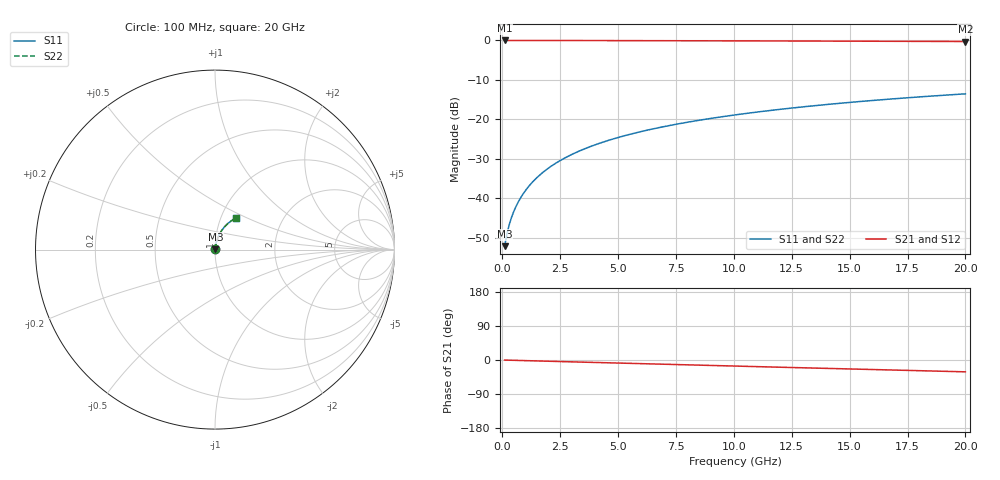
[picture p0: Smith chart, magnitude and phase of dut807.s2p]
! Touchstone file exported from HFSS 2026.1.0
!  File:  C:/ffzhzh/LocalFiles/Ansys_Project_Files/temp_train_TMRDL_807_1783156236_43440.aedt
!  Generated:  05:11:44 PM Jul  4, 2026
!  Design:  TMRDL
!  Project:  temp_train_TMRDL_807_1783156236_43440
! Variables:
!  h_bsmrdl = 2um
!  h_ox = 20um
!  h_rdl = 5um
!  h_sub = 80um
!  h_tmrdl = 3.82um
!  h_tsv = 80um
!  h_via = 3um
!  l_bsmrdl = 300um
!  l_sub = 889.7um
!  l_tmrdl = 489.7um
!  m_sub = 200um
!  pitch = 40.78um
!  r_tsv = 6um
!  s_tmrdl = 10um
!  w_bsmrdl = 18um
!  w_sub = 500um
!  w_tmrdl = 25.33um
!  x_tsv_center1 = 502.365um
!  x_tsv_center2 = 820.365um
!  x_tsv_center3 = 1335.395um
!  x_tsv_center4 = 1653.395um
!  x_tsv_center5 = 2168.425um
!  x_tsv_center6 = 2486.425um
# GHz S MA R 50.000000
! Terminal data exported
! Port[1] = TM_RDL1_1_T1
! Port[2] = TM_RDL1_1_T2
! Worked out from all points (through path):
!   200 points, 100 MHz to 20 GHz, reference 50 ohm
!   highest |S21| = -0.02 dB at 100 MHz (marker M1); lowest = -0.3 dB at 20 GHz (marker M2)
!   group delay of S21, straight-line fit = 4.33 ps
!   lowest |S11| = -52.1 dB at 100 MHz (marker M3), VSWR 1.01, Z = 50.2 + j0.144 ohm
!   |S11| at or under -10 dB: start of sweep to end of sweep
!   |S22| runs from -52.1 to -13.5 dB; largest |S21 - S12| = 2.6e-15
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0.1  0.002494 35.2  0.998 -0.2  0.998 -0.2  0.002494 35.2
! Gamma 0 0 0 0
! Port Impedance 50 0 50 0
0.2  0.003548 51.4  0.9978 -0.3  0.9978 -0.3  0.003548 51.4
0.3  0.00467 59.2  0.9976 -0.5  0.9976 -0.5  0.00467 59.2
0.4  0.005785 63.9  0.9975 -0.7  0.9975 -0.7  0.005785 63.9
0.5  0.006898 67.3  0.9974 -0.8  0.9974 -0.8  0.006898 67.3
0.6  0.008018 69.8  0.9973 -1.0  0.9973 -1.0  0.008018 69.8
0.8  0.01029 73.3  0.9972 -1.3  0.9972 -1.3  0.01029 73.3
1.1  0.01375 76.3  0.9971 -1.8  0.9971 -1.8  0.01375 76.3
1.3  0.01608 77.5  0.997 -2.1  0.997 -2.1  0.01608 77.5
1.6  0.01961 78.6  0.9968 -2.6  0.9968 -2.6  0.01961 78.6
2.1  0.02549 79.4  0.9965 -3.4  0.9965 -3.4  0.02549 79.4
2.7  0.03254 79.6  0.9961 -4.4  0.9961 -4.4  0.03254 79.6
3.5  0.04187 79.1  0.9954 -5.7  0.9954 -5.7  0.04187 79.1
4.2  0.04995 78.4  0.9946 -6.8  0.9946 -6.8  0.04995 78.4
5  0.05907 77.5  0.9937 -8.1  0.9937 -8.1  0.05907 77.5
5.9  0.0692 76.3  0.9926 -9.5  0.9926 -9.5  0.0692 76.3
6.8  0.07917 75.1  0.9913 -10.9  0.9913 -10.9  0.07917 75.1
8.3  0.0955 73.0  0.9892 -13.3  0.9892 -13.3  0.0955 73.0
10.1  0.1146 70.4  0.9864 -16.1  0.9864 -16.1  0.1146 70.4
13.4  0.1484 65.7  0.9808 -21.2  0.9808 -21.2  0.1484 65.7
16.7  0.1805 60.9  0.9746 -26.3  0.9746 -26.3  0.1805 60.9
20  0.2107 56.2  0.9679 -31.2  0.9679 -31.2  0.2107 56.2
